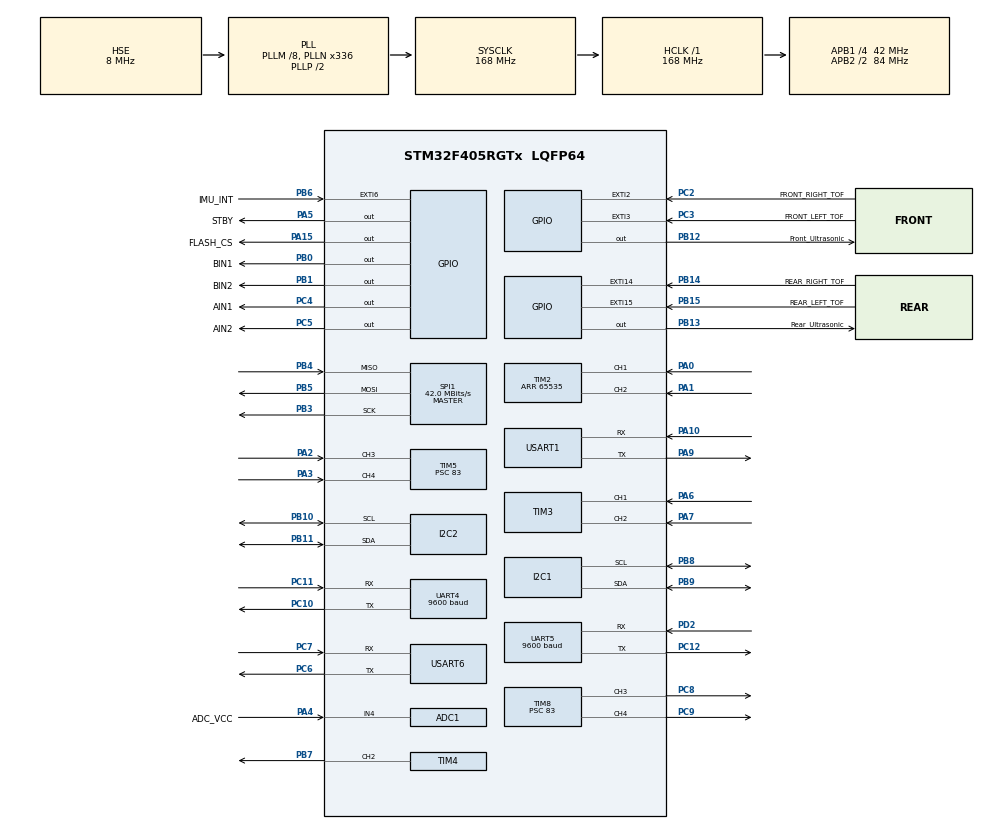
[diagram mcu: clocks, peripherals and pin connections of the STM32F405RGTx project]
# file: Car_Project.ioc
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ADC1.Channel-0\#ChannelRegularConversion=ADC_CHANNEL_4
ADC1.NbrOfConversionFlag=1
ADC1.Rank-0\#ChannelRegularConversion=1
ADC1.SamplingTime-0\#ChannelRegularConversion=ADC_SAMPLETIME_15CYCLES
ADC1.master=1
Dma.I2C1_RX.0.Direction=DMA_PERIPH_TO_MEMORY
Dma.I2C1_RX.0.FIFOMode=DMA_FIFOMODE_DISABLE
Dma.I2C1_RX.0.Instance=DMA1_Stream5
Dma.I2C1_RX.0.MemDataAlignment=DMA_MDATAALIGN_BYTE
Dma.I2C1_RX.0.MemInc=DMA_MINC_ENABLE
Dma.I2C1_RX.0.Mode=DMA_NORMAL
Dma.I2C1_RX.0.PeriphDataAlignment=DMA_PDATAALIGN_BYTE
Dma.I2C1_RX.0.PeriphInc=DMA_PINC_DISABLE
Dma.I2C1_RX.0.Priority=DMA_PRIORITY_LOW
Dma.Request0=I2C1_RX
Dma.Request1=USART6_TX
Dma.Request2=USART6_RX
Dma.Request3=UART4_RX
Dma.Request4=UART5_RX
Dma.UART4_RX.3.Direction=DMA_PERIPH_TO_MEMORY
Dma.UART4_RX.3.FIFOMode=DMA_FIFOMODE_DISABLE
Dma.UART4_RX.3.Instance=DMA1_Stream2
Dma.UART4_RX.3.MemDataAlignment=DMA_MDATAALIGN_BYTE
Dma.UART4_RX.3.MemInc=DMA_MINC_ENABLE
Dma.UART4_RX.3.Mode=DMA_NORMAL
Dma.UART4_RX.3.PeriphDataAlignment=DMA_PDATAALIGN_BYTE
Dma.UART4_RX.3.PeriphInc=DMA_PINC_DISABLE
Dma.UART4_RX.3.Priority=DMA_PRIORITY_LOW
Dma.UART5_RX.4.Direction=DMA_PERIPH_TO_MEMORY
Dma.UART5_RX.4.FIFOMode=DMA_FIFOMODE_DISABLE
Dma.UART5_RX.4.Instance=DMA1_Stream0
Dma.UART5_RX.4.MemDataAlignment=DMA_MDATAALIGN_BYTE
Dma.UART5_RX.4.MemInc=DMA_MINC_ENABLE
Dma.UART5_RX.4.Mode=DMA_NORMAL
Dma.UART5_RX.4.PeriphDataAlignment=DMA_PDATAALIGN_BYTE
Dma.UART5_RX.4.PeriphInc=DMA_PINC_DISABLE
Dma.UART5_RX.4.Priority=DMA_PRIORITY_LOW
Dma.USART6_RX.2.Direction=DMA_PERIPH_TO_MEMORY
Dma.USART6_RX.2.FIFOMode=DMA_FIFOMODE_DISABLE
Dma.USART6_RX.2.Instance=DMA2_Stream1
Dma.USART6_RX.2.MemDataAlignment=DMA_MDATAALIGN_BYTE
Dma.USART6_RX.2.MemInc=DMA_MINC_ENABLE
Dma.USART6_RX.2.Mode=DMA_CIRCULAR
Dma.USART6_RX.2.PeriphDataAlignment=DMA_PDATAALIGN_BYTE
Dma.USART6_RX.2.PeriphInc=DMA_PINC_DISABLE
Dma.USART6_RX.2.Priority=DMA_PRIORITY_MEDIUM
Dma.USART6_TX.1.Direction=DMA_MEMORY_TO_PERIPH
Dma.USART6_TX.1.FIFOMode=DMA_FIFOMODE_DISABLE
Dma.USART6_TX.1.Instance=DMA2_Stream6
Dma.USART6_TX.1.MemDataAlignment=DMA_MDATAALIGN_BYTE
Dma.USART6_TX.1.MemInc=DMA_MINC_ENABLE
Dma.USART6_TX.1.Mode=DMA_NORMAL
Dma.USART6_TX.1.PeriphDataAlignment=DMA_PDATAALIGN_BYTE
Dma.USART6_TX.1.PeriphInc=DMA_PINC_DISABLE
Dma.USART6_TX.1.Priority=DMA_PRIORITY_LOW
I2C1.I2C_Mode=I2C_Fast
I2C2.I2C_Mode=I2C_Fast
Mcu.Family=STM32F4
Mcu.Name=STM32F405RGTx
Mcu.Package=LQFP64
NVIC.DMA1_Stream0_IRQn=true\:0\:0\:true\:false\:true\:false\:true\:true
NVIC.DMA1_Stream2_IRQn=true\:0\:0\:false\:false\:true\:false\:true\:true
NVIC.DMA1_Stream5_IRQn=true\:0\:0\:false\:false\:true\:false\:true\:true
NVIC.DMA2_Stream1_IRQn=true\:0\:0\:false\:false\:true\:false\:true\:true
NVIC.DMA2_Stream6_IRQn=true\:0\:0\:false\:false\:true\:false\:true\:true
NVIC.EXTI15_10_IRQn=true\:2\:0\:true\:false\:true\:true\:true\:true
NVIC.EXTI2_IRQn=true\:2\:0\:true\:false\:true\:true\:true\:true
NVIC.EXTI3_IRQn=true\:2\:0\:true\:false\:true\:true\:true\:true
NVIC.EXTI9_5_IRQn=true\:2\:0\:true\:false\:true\:true\:true\:true
NVIC.I2C1_ER_IRQn=true\:1\:0\:true\:false\:true\:true\:true\:true
NVIC.I2C1_EV_IRQn=true\:1\:0\:true\:false\:true\:true\:true\:true
NVIC.PriorityGroup=NVIC_PRIORITYGROUP_4
NVIC.TIM5_IRQn=true\:0\:0\:false\:false\:true\:true\:true\:true
NVIC.TIM6_DAC_IRQn=true\:0\:0\:false\:false\:true\:true\:true\:true
NVIC.UART4_IRQn=true\:0\:0\:false\:false\:true\:true\:true\:true
NVIC.UART5_IRQn=true\:0\:0\:false\:false\:true\:true\:true\:true
NVIC.USART6_IRQn=true\:0\:0\:false\:false\:true\:true\:true\:true
PA0-WKUP.Signal=S_TIM2_CH1_ETR
PA1.Signal=S_TIM2_CH2
PA10.Mode=Asynchronous
PA10.Signal=USART1_RX
PA13.Mode=Serial_Wire
PA13.Signal=SYS_JTMS-SWDIO
PA14.Mode=Serial_Wire
PA14.Signal=SYS_JTCK-SWCLK
PA15.GPIO_Label=FLASH_CS
PA15.PinState=GPIO_PIN_SET
PA15.Signal=GPIO_Output
PA2.Signal=S_TIM5_CH3
PA3.Signal=S_TIM5_CH4
PA4.GPIO_Label=ADC_VCC
PA4.Signal=ADCx_IN4
PA5.GPIO_Label=STBY
PA5.PinState=GPIO_PIN_SET
PA5.Signal=GPIO_Output
PA6.Signal=S_TIM3_CH1
PA7.Signal=S_TIM3_CH2
PA9.Mode=Asynchronous
PA9.Signal=USART1_TX
PB0.GPIO_Label=BIN1
PB0.GPIO_Speed=GPIO_SPEED_FREQ_MEDIUM
PB0.Signal=GPIO_Output
PB1.GPIO_Label=BIN2
PB1.GPIO_Speed=GPIO_SPEED_FREQ_MEDIUM
PB1.Signal=GPIO_Output
PB10.Mode=I2C
PB10.Signal=I2C2_SCL
PB11.Mode=I2C
PB11.Signal=I2C2_SDA
PB12.GPIO_Label=Front_Ultrasonic
PB12.Signal=GPIO_Output
PB13.GPIO_Label=Rear_Ultrasonic
PB13.Signal=GPIO_Output
PB14.GPIO_Label=REAR_RIGHT_TOF
PB14.GPIO_ModeDefaultEXTI=GPIO_MODE_IT_FALLING
PB14.GPIO_PuPd=GPIO_PULLUP
PB14.Signal=GPXTI14
PB15.GPIO_Label=REAR_LEFT_TOF
PB15.GPIO_ModeDefaultEXTI=GPIO_MODE_IT_FALLING
PB15.GPIO_PuPd=GPIO_PULLUP
PB15.Signal=GPXTI15
PB3.Mode=Full_Duplex_Master
PB3.Signal=SPI1_SCK
PB4.Mode=Full_Duplex_Master
PB4.Signal=SPI1_MISO
PB5.Mode=Full_Duplex_Master
PB5.Signal=SPI1_MOSI
PB6.GPIO_Label=IMU_INT
PB6.Signal=GPXTI6
PB7.Signal=S_TIM4_CH2
PB8.GPIO_Pu=GPIO_NOPULL
PB8.Mode=I2C
PB8.Signal=I2C1_SCL
PB9.GPIO_Pu=GPIO_NOPULL
PB9.GPIO_Speed=GPIO_SPEED_FREQ_VERY_HIGH
PB9.Mode=I2C
PB9.Signal=I2C1_SDA
PC10.Mode=Asynchronous
PC10.Signal=UART4_TX
PC11.Mode=Asynchronous
PC11.Signal=UART4_RX
PC12.Mode=Asynchronous
PC12.Signal=UART5_TX
PC2.GPIO_Label=FRONT_RIGHT_TOF
PC2.GPIO_ModeDefaultEXTI=GPIO_MODE_IT_FALLING
PC2.GPIO_PuPd=GPIO_PULLUP
PC2.Signal=GPXTI2
PC3.GPIO_Label=FRONT_LEFT_TOF
PC3.GPIO_ModeDefaultEXTI=GPIO_MODE_IT_FALLING
PC3.GPIO_PuPd=GPIO_PULLUP
PC3.Signal=GPXTI3
PC4.GPIO_Label=AIN1
PC4.Signal=GPIO_Output
PC5.GPIO_Label=AIN2
PC5.GPIO_Speed=GPIO_SPEED_FREQ_MEDIUM
PC5.Signal=GPIO_Output
PC6.Mode=Asynchronous
PC6.Signal=USART6_TX
PC7.Mode=Asynchronous
PC7.Signal=USART6_RX
PC8.Signal=S_TIM8_CH3
PC9.Signal=S_TIM8_CH4
PD2.Mode=Asynchronous
PD2.Signal=UART5_RX
PH0-OSC_IN.Mode=HSE-External-Oscillator
PH0-OSC_IN.Signal=RCC_OSC_IN
PH1-OSC_OUT.Mode=HSE-External-Oscillator
PH1-OSC_OUT.Signal=RCC_OSC_OUT
ProjectManager.HeapSize=0x200
ProjectManager.StackSize=0x400
ProjectManager.TargetToolchain=STM32CubeIDE
RCC.48MHZClocksFreq_Value=84000000
RCC.AHBFreq_Value=168000000
RCC.APB1CLKDivider=RCC_HCLK_DIV4
RCC.APB1Freq_Value=42000000
RCC.APB1TimFreq_Value=84000000
RCC.APB2CLKDivider=RCC_HCLK_DIV2
RCC.APB2Freq_Value=84000000
RCC.APB2TimFreq_Value=168000000
RCC.CortexFreq_Value=168000000
RCC.DATA_CACHE_ENABLE=1
RCC.HCLKFreq_Value=168000000
RCC.HSE_VALUE=8000000
RCC.HSI_VALUE=16000000
RCC.INSTRUCTION_CACHE_ENABLE=1
RCC.LSE_VALUE=32768
RCC.PLLM=8
RCC.PLLN=336
RCC.PLLSourceVirtual=RCC_PLLSOURCE_HSE
RCC.PREFETCH_ENABLE=1
RCC.SYSCLKFreq_VALUE=168000000
RCC.SYSCLKSource=RCC_SYSCLKSOURCE_PLLCLK
RCC.VCOOutputFreq_Value=336000000
SH.ADCx_IN4.0=ADC1_IN4,IN4
SH.S_TIM2_CH1_ETR.0=TIM2_CH1,Encoder_Interface
SH.S_TIM2_CH2.0=TIM2_CH2,Encoder_Interface
SH.S_TIM3_CH1.0=TIM3_CH1,Encoder_Interface
SH.S_TIM3_CH2.0=TIM3_CH2,Encoder_Interface
SH.S_TIM4_CH2.0=TIM4_CH2,PWM Generation2 CH2
SH.S_TIM5_CH3.0=TIM5_CH3,Input_Capture3_from_TI3
SH.S_TIM5_CH4.0=TIM5_CH4,Input_Capture4_from_TI4
SH.S_TIM8_CH3.0=TIM8_CH3,PWM Generation3 CH3
SH.S_TIM8_CH4.0=TIM8_CH4,PWM Generation4 CH4
SPI1.CalculateBaudRate=42.0 MBits/s
SPI1.Direction=SPI_DIRECTION_2LINES
SPI1.Mode=SPI_MODE_MASTER
SPI1.VirtualType=VM_MASTER
TIM2.AutoReloadPreload=TIM_AUTORELOAD_PRELOAD_DISABLE
TIM2.EncoderMode=TIM_ENCODERMODE_TI12
TIM2.Period=65535
TIM3.EncoderMode=TIM_ENCODERMODE_TI12
TIM4.Channel-PWM\ Generation2\ CH2=TIM_CHANNEL_2
TIM4.Period=19999
TIM4.Prescaler=83
TIM4.Pulse-PWM\ Generation2\ CH2=15
TIM5.Channel-Input_Capture3_from_TI3=TIM_CHANNEL_3
TIM5.Channel-Input_Capture4_from_TI4=TIM_CHANNEL_4
TIM5.ICPolarity_CH3=TIM_INPUTCHANNELPOLARITY_BOTHEDGE
TIM5.ICPolarity_CH4=TIM_INPUTCHANNELPOLARITY_BOTHEDGE
TIM5.Period=39999
TIM5.Prescaler=83
TIM6.AutoReloadPreload=TIM_AUTORELOAD_PRELOAD_ENABLE
TIM6.Period=9
TIM6.Prescaler=8399
TIM8.AutomaticOutput=TIM_AUTOMATICOUTPUT_DISABLE
TIM8.Channel-PWM\ Generation3\ CH3=TIM_CHANNEL_3
TIM8.Channel-PWM\ Generation4\ CH4=TIM_CHANNEL_4
TIM8.Period=99
TIM8.Prescaler=83
UART4.BaudRate=9600
UART4.VirtualMode=Asynchronous
UART5.BaudRate=9600
UART5.VirtualMode=Asynchronous
USART1.VirtualMode=VM_ASYNC
USART6.VirtualMode=VM_ASYNC
VP_CRC_VS_CRC.Mode=CRC_Activate
VP_TIM6_VS_ClockSourceINT.Mode=Enable_Timer
VP_TIM8_VS_ClockSourceINT.Mode=Internal
board=custom

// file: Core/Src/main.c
/* USER CODE BEGIN Header */
/**
  ******************************************************************************
  * @file           : main.c
  * @brief          : Main program body
  ******************************************************************************
  * @attention
  *
  * Copyright (c) 2026 STMicroelectronics.
  * All rights reserved.
  *
  * This software is licensed under terms that can be found in the LICENSE file
  * in the root directory of this software component.
  * If no LICENSE file comes with this software, it is provided AS-IS.
  *
  ******************************************************************************
  */
/* USER CODE END Header */
#include "main.h"
#include "adc.h"
#include "crc.h"
#include "dma.h"
#include "i2c.h"
#include "spi.h"
#include "tim.h"
#include "usart.h"
#include "gpio.h"

/* USER CODE BEGIN Includes */
#include "Motor.h"
#include "debug.h"
#include "power_manager.h"
#include "motion_sensor.h"
#include "imu_fusion.h"
#include "servo.h"
#include "vl53l1_platform.h"
#include "ultrasonic_sensor.h"
#include "storage_control.h"
#include "comm.h"
/* USER CODE END Includes */

/* USER CODE BEGIN PTD */
typedef enum{
	SYS_INIT = 1000,
	SYS_IDLE = 1001,
	SYS_AUTO_RUN = 1002,
	SYS_MANUALLY_RUN = 1003,
	SYS_ERROR = 1004,
	SYS_LOW_POWER = 1005
}SystemState;

typedef enum{
    RUN_IDLE = 5000,
    RUN_FORWARD = 5001,
    RUN_TURN_LEFT = 5002,
    RUN_TURN_RIGHT = 5003,
    RUN_AVOID = 5004,
    RUN_STOP =5005
}RunState;

typedef enum {
    EVENT_NONE = 7000,
    EVENT_OBSTACLE = 7001,
    EVENT_OBSTACLE_CLEARANCE = 7002,
    EVENT_ERROR = 7003
}SystemEvent;
/* USER CODE END PTD */

/* USER CODE BEGIN PD */
#define DOF_RETRY_CNT 20
/* USER CODE END PD */

/* USER CODE BEGIN PV */
volatile uint16_t Error_code;
Encoder_t rEncoder, lEncoder;
//extern uint8_t print_flag;
float voltage = 0;
float filtered_voltage = 0;
enum power_status PowerStatus;
volatile SystemState sState;
volatile RunState rState;
volatile SystemEvent sEvent;

volatile uint8_t start_button; //not ready

volatile uint8_t flag_5ms = 0;
volatile uint8_t flag_10ms = 0;
volatile uint8_t flag_100ms = 0;
volatile uint8_t flag_1s = 0;

PID_t pid_L = {0.8, 0.004, 0, 0, 0}; // left motor PID
PID_t pid_R = {0.8, 0, 0, 0, 0}; //right motor PID

IMU ICM20948;
volatile CalibState_t calib_state;
IMU_Data_t imu_data_calibrated;
Euler_t euler;
uint8_t is_IMU_init;
#if ENABLE_IMU_ACC_CALIBRATION
	volatile AccCalibState_t acc_cal_state;
#endif
//Servo
Servo_PID_t Servo_PID = {1.2f, 0.3f, 0, 0, 0, 0.01}; //servo PID

//TOF
volatile uint8_t TOF_interrupt;
VL53L1_Dev_t RR_TOF, RL_TOF, FR_TOF, FL_TOF;

//ultrasonic sensor
volatile SonicState_t sonic_state = TRIG_FRONT;
Ultrasonic_t front_sonic, rear_sonic;
//log & config
uint64_t time_offset_us;
Config_t cur_conf;
Config_Record_t last_conf_record;
/* USER CODE END PV */

void SystemClock_Config(void);
/* USER CODE BEGIN PFP */
void System_Task();
void Move_Task();
void ICM20948_Recover_Bus();
void I2C_Bus_Recover();
/* USER CODE END PFP */

int main(void)
{

  /* MCU Configuration--------------------------------------------------------*/

  /* Reset of all peripherals, Initializes the Flash interface and the Systick. */
  HAL_Init();

  /* USER CODE BEGIN Init */
  sState = SYS_INIT;
  rState = RUN_IDLE;
#if ENABLE_IMU_ACC_CALIBRATION
  acc_cal_state = CAL_DONE;
#endif
  /* USER CODE END Init */

  /* Configure the system clock */
  SystemClock_Config();

  /* USER CODE BEGIN SysInit */
  I2C_Bus_Recover();	//for ICM20948 hi2c1
  HAL_Delay(100);
  /* USER CODE END SysInit */

  /* Initialize all configured peripherals */
  MX_GPIO_Init();
  MX_DMA_Init();
  MX_I2C1_Init();
  MX_TIM4_Init();
  MX_TIM6_Init();
  MX_SPI1_Init();
  MX_TIM8_Init();
  MX_USART1_UART_Init();
  MX_TIM3_Init();
  MX_TIM2_Init();
  MX_ADC1_Init();
  MX_I2C2_Init();
  MX_TIM5_Init();
  MX_USART6_UART_Init();
  MX_CRC_Init();
  MX_UART4_Init();
  MX_UART5_Init();
  /* USER CODE BEGIN 2 */
  DWT_Init();
  Power_Manager_Init();
#if ENABLE_EXT_FLASH
  FLASH_Config_Init();
  //last_conf_record.imu_offset[0] = 1;
  //FLASH_Config_Write(&last_conf_record);
#endif
#if ENABLE_IMU
  HAL_Delay(100);
  Error_code = ICM20948_Init();
  HAL_Delay(100);
  uint8_t retry = 0;
  while(ICM20948_WhoAmI() == 0 || Error_code != OK)
  {
#if DEBUG_MODE
	  printf("ErrorCode:%d\r\n", Error_code);
#endif
	  HAL_Delay(100);
	  I2C_Bus_Recover();
	  HAL_Delay(100);
	  ICM20948_Recover_Bus(&hi2c1);
	  HAL_Delay(500);
	  Error_code = ICM20948_Init();
	  retry++;
	  if( retry == DOF_RETRY_CNT)
	  {
		  sState = SYS_ERROR;
		  break;
	  }
  };
  IMU_Fusion_Init();
#else
  calib_state = CALIB_DONE;
#endif
  Motor_Init();
  Servo_Init();
  HAL_TIM_Base_Start_IT(&htim6); //Start System interrupts on Timer 6
#if ENABLE_SONIC
  Error_code = Ultrasonic_Init(US_HTIM_HANDLE);
#endif

#if ENABLE_TOF
  Error_code = VL53L1_Init_All();
#endif

  /* USER CODE END 2 */

  /* Infinite loop */
  /* USER CODE BEGIN WHILE */
//	Mortor_Controler(&htim8, TIM_CHANNEL_3, FORWORD, 100);
//	Mortor_Controler(&htim8, TIM_CHANNEL_4, FORWORD, 100);
//	Mortor_Controler(&htim8, TIM_CHANNEL_3, STOP, 0);
//	Mortor_Controler(&htim8, TIM_CHANNEL_4, STOP, 0);
#if DEBUG_MODE
//  Debug_Unfreeze();
  sEvent = EVENT_OBSTACLE_CLEARANCE;
  printf("Start running\r\n");
#endif
  if(Error_code)
  {
	  sState = SYS_ERROR;
  }
  while (1)
  {
#if ENABLE_TOF
	  if(TOF_interrupt)
		  Get_TOF_Distance();
#endif
#if ENABLE_SONIC
	  Ultrasonic_Task(US_HTIM_HANDLE);
#endif
	  if(flag_5ms)
	  {
#if ENABLE_IMU_ACC_CALIBRATION
#endif
		  flag_5ms = 0;
	  }
	  if(flag_1s)
	  {
		  Power_Manager();
		  flag_1s = 0;
#if DEBUG_MODE
		  Debug_Print();
#endif
	  }
	  if(ICM20948.INT_Flag && !ICM20948.DMA_Busy)
	  {
		  Error_code = IMU_Read_DMA();
	//		printf("ERROR Code:%d | HAL ERROR Code:%d\r\n", Error_code, hi2c1.ErrorCode);
	  }
	  if(ICM20948.DMA_Done || ICM20948.Mag_DMA_Done)
	  {
		  ICM20948_Parse();
		  if(sState == SYS_INIT)
			  IMU_Calibrate_Task();
		  if(calib_state == CALIB_DONE)
		  {
			  IMU_Fusion_Update();
	//			flag_10ms=0;
		//		IMU_Fusion_Update_v2();
		  }
		  if(ICM20948.Mag_DMA_Done)	ICM20948.Mag_DMA_Done = 0;
		  if(ICM20948.DMA_Done)		ICM20948.DMA_Done = 0;
#if DEBUG_MODE
	//		printf("2---ERROR Code:%d | HAL ERROR Code:%d\r\n", Error_code, hi2c1.ErrorCode);
#endif
	  }
	  System_Task();
	  if(sState == SYS_AUTO_RUN)
		  Move_Task();
	  else continue;
		// HAL_Delay(100);
		/*Mortor_Controler(&htim8, TIM_CHANNEL_3, FORWORD, 50);
		Mortor_Controler(&htim8, TIM_CHANNEL_4, FORWORD, 50);
		printf("R diff=%d rpm=%.2f | L diff=%d rpm=%.2f\r\n",
               rEncoder.diff, rEncoder.rpm_filtered,
               lEncoder.diff, lEncoder.rpm_filtered);
		HAL_Delay(3000);

		Mortor_Controler(&htim8, TIM_CHANNEL_3, STOP, 0);
		Mortor_Controler(&htim8, TIM_CHANNEL_4, STOP, 0);
		printf("R diff=%d rpm=%.2f | L diff=%d rpm=%.2f\r\n",
               rEncoder.diff, rEncoder.rpm_filtered,
               lEncoder.diff, lEncoder.rpm_filtered);
		HAL_Delay(3000);

		Mortor_Controler(&htim8, TIM_CHANNEL_3, REVERSES, 100);
		Mortor_Controler(&htim8, TIM_CHANNEL_4, REVERSES, 100);
		printf("R diff=%d rpm=%.2f | L diff=%d rpm=%.2f\r\n",
               rEncoder.diff, rEncoder.rpm_filtered,
               lEncoder.diff, lEncoder.rpm_filtered);
		HAL_Delay(3000);*/
		/*HAL_Delay(10);
			printf("diff=%d\r\n", rEncoder.diff);*/
    /* USER CODE END WHILE */

  }
}

void SystemClock_Config(void)
{
  RCC_OscInitTypeDef RCC_OscInitStruct = {0};
  RCC_ClkInitTypeDef RCC_ClkInitStruct = {0};

  /** Configure the main internal regulator output voltage
  */
  __HAL_RCC_PWR_CLK_ENABLE();
  __HAL_PWR_VOLTAGESCALING_CONFIG(PWR_REGULATOR_VOLTAGE_SCALE1);

  /** Initializes the RCC Oscillators according to the specified parameters
  * in the RCC_OscInitTypeDef structure.
  */
  RCC_OscInitStruct.OscillatorType = RCC_OSCILLATORTYPE_LSI|RCC_OSCILLATORTYPE_HSE;
  RCC_OscInitStruct.HSEState = RCC_HSE_ON;
  RCC_OscInitStruct.LSIState = RCC_LSI_ON;
  RCC_OscInitStruct.PLL.PLLState = RCC_PLL_ON;
  RCC_OscInitStruct.PLL.PLLSource = RCC_PLLSOURCE_HSE;
  RCC_OscInitStruct.PLL.PLLM = 8;
  RCC_OscInitStruct.PLL.PLLN = 336;
  RCC_OscInitStruct.PLL.PLLP = RCC_PLLP_DIV2;
  RCC_OscInitStruct.PLL.PLLQ = 4;
  if (HAL_RCC_OscConfig(&RCC_OscInitStruct) != HAL_OK)
  {
    Error_Handler();
  }

  /** Initializes the CPU, AHB and APB buses clocks
  */
  RCC_ClkInitStruct.ClockType = RCC_CLOCKTYPE_HCLK|RCC_CLOCKTYPE_SYSCLK
                              |RCC_CLOCKTYPE_PCLK1|RCC_CLOCKTYPE_PCLK2;
  RCC_ClkInitStruct.SYSCLKSource = RCC_SYSCLKSOURCE_PLLCLK;
  RCC_ClkInitStruct.AHBCLKDivider = RCC_SYSCLK_DIV1;
  RCC_ClkInitStruct.APB1CLKDivider = RCC_HCLK_DIV4;
  RCC_ClkInitStruct.APB2CLKDivider = RCC_HCLK_DIV2;

  if (HAL_RCC_ClockConfig(&RCC_ClkInitStruct, FLASH_LATENCY_5) != HAL_OK)
  {
    Error_Handler();
  }
}

/* USER CODE BEGIN 4 */
/*
* INIT | IDLE | RUN | LOW_POWER | ERROR
*/
void System_Task(){
	switch(sState)
	{
		case SYS_INIT:
			Stop_Motor();
		    if (calib_state == CALIB_DONE)
		    	sState = SYS_IDLE;
		break;
		case SYS_IDLE:
			Stop_Motor();
			//if(start_button)
			sState = SYS_AUTO_RUN;
		break;
		case SYS_AUTO_RUN:
			if(flag_10ms)
			{
				//Servo PID
				Servo_PID_Update(&htim4, TIM_CHANNEL_2);
				float corr = 0;
				float target_L = 0;
				float target_R = 0;
				//Get RPM
				Update_Encoder(&lEncoder);
				Update_Encoder(&rEncoder);
				float base_speed = pid_L.target_RPM;
				//如果要轉彎,後輪差速控制
				Differential_Control(base_speed, &target_L, &target_R);
				//Motor PID
				if( fabs(Servo_PID.last_output) < 5.0f)
				{
					corr = Straight_Correction(lEncoder.reduction_rpm, rEncoder.reduction_rpm);
					target_L = pid_L.target_RPM - corr;
					target_R = pid_R.target_RPM + corr;
				}
				//轉彎降速
				float scale = 1.0f - fabs(Servo_PID.last_output)/30.0f;
				if(scale < 0.4f) scale = 0.4f;
				target_L *= scale;
				target_R *= scale;
				if(target_L < 0) target_L = 0;
				if(target_R < 0) target_R = 0;
				if(target_L > MAX_RPM) target_L = MAX_RPM;
				if(target_R > MAX_RPM) target_R = MAX_RPM;
				PID_Update(&pid_L, target_L, lEncoder.reduction_rpm);
				PID_Update(&pid_R, target_R, rEncoder.reduction_rpm);
				Set_Pwm_Duty_Percent(&htim8, TIM_CHANNEL_3, pid_L.last_output);
				Set_Pwm_Duty_Percent(&htim8, TIM_CHANNEL_4, pid_R.last_output);
#if DEBUG_MODE
		//			printf("R RPM=%.2f| L RPM=%.2f\r\n",
		//						rEncoder.reduction_rpm,lEncoder.reduction_rpm);
#endif
				flag_10ms = 0;
			}
			if(PowerStatus == PROTECTION_POWER_STATUS)
				sState = SYS_LOW_POWER;
			else if(sEvent == EVENT_ERROR)
				sState = SYS_ERROR;
		break;
		case SYS_MANUALLY_RUN://manually run

		break;
		case SYS_LOW_POWER://slow down or stop

		break;
		case SYS_ERROR://stop
			printf("ERROR Code:%d | HAL ERROR Code:%d\r\n", Error_code, (int)hi2c1.ErrorCode);
			Stop_Motor();
			HAL_Delay(5000);
		break;
	}
}

void Move_Task()
{
	switch(rState)
	{
		case RUN_IDLE:
			Stop_Motor();
#if DEBUG_MODE
			sEvent = EVENT_OBSTACLE_CLEARANCE;
#endif
			rState = RUN_FORWARD;
//			rState = RUN_TURN_LEFT;//for test servo
        break;
		case RUN_FORWARD:
			if(sEvent == EVENT_OBSTACLE)
				rState = RUN_AVOID;
			if(sEvent == EVENT_OBSTACLE_CLEARANCE)
			{
				Mortor_Controler(&htim8, TIM_CHANNEL_3, FORWORD, 100);
				Mortor_Controler(&htim8, TIM_CHANNEL_4, FORWORD, 100);
			}
        break;
		case RUN_AVOID:
        	if(sEvent == EVENT_OBSTACLE_CLEARANCE)
        		rState = RUN_FORWARD;
        break;
		case RUN_TURN_LEFT:
			Mortor_Controler(&htim8, TIM_CHANNEL_3, RIGHT, 30);
			Mortor_Controler(&htim8, TIM_CHANNEL_4, RIGHT, 30);
			Set_Servo_Angle(&htim4, TIM_CHANNEL_2, 30);
        break;
		case RUN_TURN_RIGHT:
            Mortor_Controler(&htim8, TIM_CHANNEL_3, RIGHT, 20);
			Mortor_Controler(&htim8, TIM_CHANNEL_4, RIGHT, 20);
        break;
		case RUN_STOP:

        break;
	}
}

//External interrupts callback function
void HAL_GPIO_EXTI_Callback(uint16_t GPIO_Pin)
{
	if(GPIO_Pin == GPIO_PIN_6) //ICM20948 INT
	{
		ICM20948.INT_Flag = 1;
	}
    if(GPIO_Pin == GPIO_PIN_2)//front right dof
    {
		TOF_interrupt |= FRONT_RIGHT_TOF_FLAG;
    }
    if(GPIO_Pin == GPIO_PIN_3)//front left dof
    {
    	TOF_interrupt |= FRONT_LEFT_TOF_FLAG;
    }
	if(GPIO_Pin == GPIO_PIN_14)//Rear right dof
    {
		TOF_interrupt |= REAR_RIGHT_TOF_FLAG;
    }
    if(GPIO_Pin == GPIO_PIN_15)//Rear left dof
    {
    	TOF_interrupt |= REAR_LEFT_TOF_FLAG;
    }
}

void EXTI_Callback()
{
	ICM20948.INT_Flag = 0;
}

//DMA callback function
void HAL_I2C_MemRxCpltCallback(I2C_HandleTypeDef *hi2c)
{
	if (hi2c->Instance == I2C1)
	{
		if(ICM20948.read_mag_cnt > 5)
		{
//			if(ICM20948.mag_state == MAG_READ_DATA)
//			{
				ICM20948.read_mag_cnt = 0;
				ICM20948.Mag_DMA_Done = 1;
//			}
		}
		else
			ICM20948.DMA_Done = 1;

		ICM20948.DMA_Busy = 0;
	}
}

//DMA Error
void HAL_I2C_ErrorCallback(I2C_HandleTypeDef *hi2c)
{
  if (hi2c->Instance == I2C1)
  {
	  ICM20948.DMA_Busy = 0;	//unlock & read again
  }
}

void ICM20948_Recover_Bus(I2C_HandleTypeDef *hi2c)
{
    __HAL_I2C_DISABLE(hi2c);
    HAL_Delay(10);
    // reset I2C hardware
    if (HAL_I2C_Init(hi2c) != HAL_OK) {
        //init error
    }
    //__HAL_I2C_ENABLE(hi2c);
}

void I2C_Bus_Recover(void) {
    GPIO_InitTypeDef GPIO_InitStruct = {0};
    // 1. set SCL and SDA as GPIO output mode
    GPIO_InitStruct.Pin = GPIO_PIN_8|GPIO_PIN_9;// PB8, PB9
    GPIO_InitStruct.Mode = GPIO_MODE_OUTPUT_OD;  // OpenDrain
    GPIO_InitStruct.Pull = GPIO_PULLUP;
    GPIO_InitStruct.Speed = GPIO_SPEED_FREQ_VERY_HIGH;
    HAL_GPIO_Init(GPIOB, &GPIO_InitStruct);

    // pull high (release bus)
    HAL_GPIO_WritePin(GPIOB, GPIO_PIN_8, GPIO_PIN_SET); // SCL
    HAL_GPIO_WritePin(GPIOB, GPIO_PIN_9, GPIO_PIN_SET); // SDA
    Delay_us(5);

    // 2. send 9 pulse manually
    for(int i = 0; i < 9; i++) {
    	if (HAL_GPIO_ReadPin(GPIOB, GPIO_PIN_9) == GPIO_PIN_SET)
    	{
    		Delay_us(5);
    		if(HAL_GPIO_ReadPin(GPIOB, GPIO_PIN_9) == GPIO_PIN_SET)
    			break;
    	}
    	HAL_GPIO_WritePin(GPIOB, GPIO_PIN_8, GPIO_PIN_RESET);
    	Delay_us(5);
    	HAL_GPIO_WritePin(GPIOB, GPIO_PIN_8, GPIO_PIN_SET);
    	Delay_us(5);
    }

    // 3. send STOP signal (STOP condition)
    HAL_GPIO_WritePin(GPIOB, GPIO_PIN_8, GPIO_PIN_SET);
    Delay_us(5);
    HAL_GPIO_WritePin(GPIOB, GPIO_PIN_9, GPIO_PIN_RESET);
    Delay_us(5);
    HAL_GPIO_WritePin(GPIOB, GPIO_PIN_9, GPIO_PIN_SET);
    Delay_us(5);
    HAL_GPIO_DeInit(GPIOB, GPIO_PIN_8 | GPIO_PIN_9);
}
/* USER CODE END 4 */

void Error_Handler(void)
{
  __disable_irq();
  while (1)
  {
  }
}
